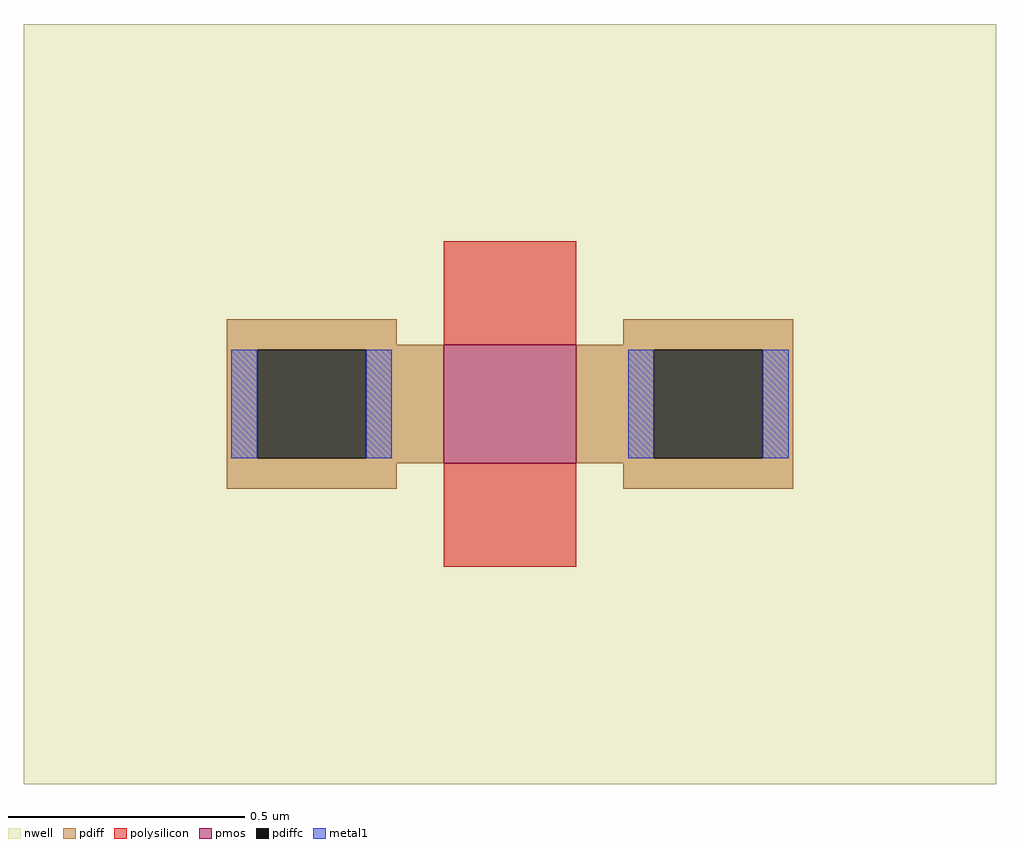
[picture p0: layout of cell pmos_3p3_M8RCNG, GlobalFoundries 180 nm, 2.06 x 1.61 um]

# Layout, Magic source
magic
tech gf180mcuC
magscale 1 10
<< nwell >>
rect -206 -161 206 161
<< pmos >>
rect -28 -25 28 25
<< pdiff >>
rect -120 25 -48 36
rect 48 25 120 36
rect -120 23 -28 25
rect -120 -23 -107 23
rect -61 -23 -28 23
rect -120 -25 -28 -23
rect 28 23 120 25
rect 28 -23 61 23
rect 107 -23 120 23
rect 28 -25 120 -23
rect -120 -36 -48 -25
rect 48 -36 120 -25
<< pdiffc >>
rect -107 -23 -61 23
rect 61 -23 107 23
<< polysilicon >>
rect -28 25 28 69
rect -28 -69 28 -25
<< metal1 >>
rect -118 -23 -107 23
rect -61 -23 -50 23
rect 50 -23 61 23
rect 107 -23 118 23
<< properties >>
string gencell pmos_3p3
string library gf180mcu
string parameters w 0.250 l 0.280 m 1 nf 1 diffcov 100 polycov 100 guard 0 glc 0 grc 0 gtc 0 gbc 0 tbcov 100 rlcov 100 topc 0 botc 0 poverlap 0 doverlap 1 lmin 0.28 wmin 0.22 full_metal 0 compatible {pmos_3p3 pmos_6p0}
<< end >>
